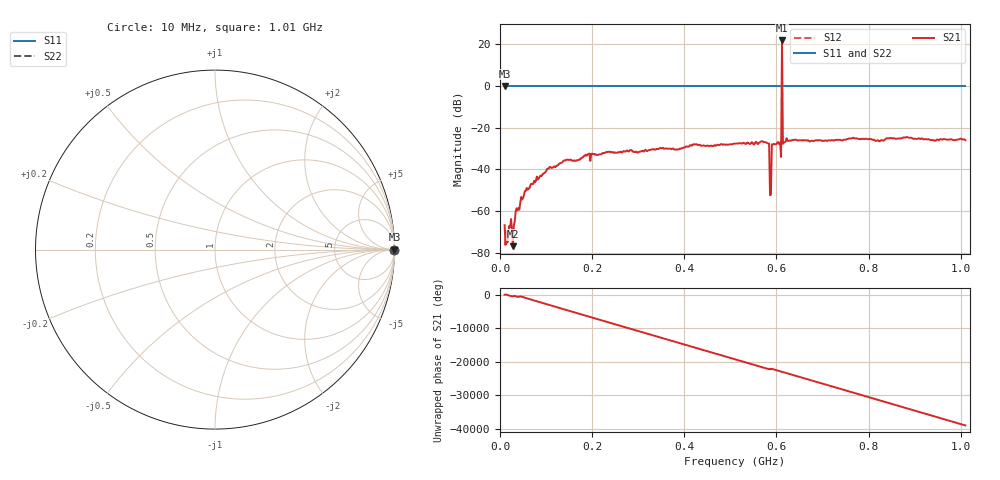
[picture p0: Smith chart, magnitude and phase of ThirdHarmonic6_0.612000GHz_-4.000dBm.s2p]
! 8/15/2025 8:03:21 PM
! C:\ANRITSUVNA\TEMP\TEMP.S2P
! CHANNEL.1
! TR.MEASUREMENT
! RAW.DATA
! RF.CORRECTION.OFF
! AVERAGING.OFF
! IF.BANDWIDTH: 5KHZ
! SWEEPTYPE:  FREQ.SWEEP(Linear)
! Reference Plane Port Info
! PORT:  PORT1  PORT2
! DISTANCE:  0  m  0  m
! TIME:  0  s  0  s
! PHASE.OFFSET:  0  deg.  0  deg.
! LOSS:  0  dB  0  dB
! REF.LOSS:  0  dB  0  dB
! REF.FREQ:  0  Hz  0  Hz
! Power Info
! POWER:  -20  dBm  -20  dBm
! EFF.POWER:  -20  dBm  -20  dBm
! SOURCE.ATTEN:  0  dB  0  dB
! TEST.ATTEN:  0  dB  0  dB
# GHZ S RI R 50.0
! FREQ.GHZ  S11RE  S11IM  S21RE  S21IM  S12RE  S12IM  S22RE  S22IM
!; PortSelection: Port_12
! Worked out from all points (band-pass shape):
!   501 points, 10 MHz to 1.01 GHz, reference 50 ohm
!   highest |S21| = 21.90 dB at 612 MHz (marker M1); lowest = -76.8 dB at 28 MHz (marker M2)
!   |S21| within 3 dB of the highest: 611.8927 MHz to 612.121 MHz (228.3 kHz wide, 0.0373 % of centre)
!   lowest |S11| = 0.0 dB at 10 MHz (marker M3)
!   |S11| at or under -10 dB: nowhere
!   |S22| runs from 0.0 to 0.0 dB; largest |S21 - S12| = 12
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0.01  1 0  0.000459 4.75e-05  1 0  1 0
0.016  1 0  -4.35e-05 -0.00017  1 0  1 0
0.028  1 0  -0.000108 -9.59e-05  1 0  1 0
0.036  1 0  -0.0011 -0.000392  1 0  1 0
0.05  1 0  0.00135 0.00154  1 0  1 0
0.07  1 0  -0.00168 -0.00411  1 0  1 0
0.106  1 0  -0.00777 -0.00709  1 0  1 0
0.178  1 0  -0.0187 -0.00332  1 0  1 0
0.344  1 0  0.0297 -0.00875  1 0  1 0
0.51  1 0  -0.0366 0.0198  1 0  1 0
0.58  1 0  -0.0363 -0.0231  1 0  1 0
0.584  1 0  0.0245 0.0337  1 0  1 0
0.59  1 0  -0.0392 0.0065  1 0  1 0
0.594  1 0  0.04 0.00959  1 0  1 0
0.606  1 0  -0.00898 -0.0394  1 0  1 0
0.608  1 0  -0.0442 0.000777  1 0  1 0
0.612  1 0  10.53 -6.63  1 0  1 0
0.616  1 0  -0.0376 -0.0244  1 0  1 0
0.618  1 0  -0.0315 0.0325  1 0  1 0
0.678  1 0  -0.0299 -0.0385  1 0  1 0
0.844  1 0  0.0474 0.0297  1 0  1 0
1.01  1 0  -0.0503 -0.00104  1 0  1 0
